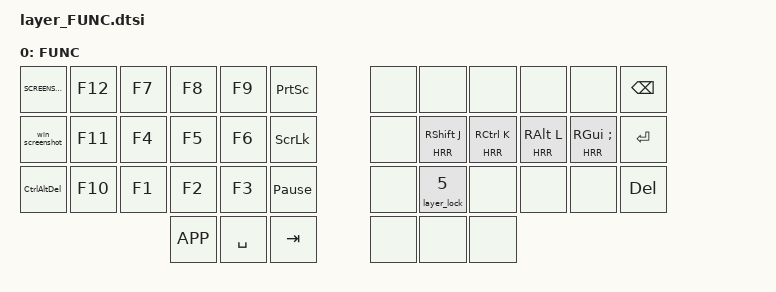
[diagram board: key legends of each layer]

/ {
    keymap {
        compatible = "zmk,keymap";

        functions {
            display-name = "FUNC";
            bindings = <
&kp K_SCREENSAVER  &kp F12  &kp F7  &kp F8  &kp F9   &kp PRINTSCREEN    &none  &none          &none         &none        &none           &kp BSPC
&win_screenshot    &kp F11  &kp F4  &kp F5  &kp F6   &kp SCROLLLOCK     &none  &HRR RSHFT J   &HRR RCTRL K  &HRR RALT L  &HRR RGUI SEMI  &kp RET
&CtrlAltDel        &kp F10  &kp F1  &kp F2  &kp F3   &kp PAUSE_BREAK    &none  &layer_lock 5  &none         &none        &none           &kp DELETE
                                    &kp K_APP  &kp SPACE  &kp TAB          &none  &none          &none
            >;
        };
    };
};
